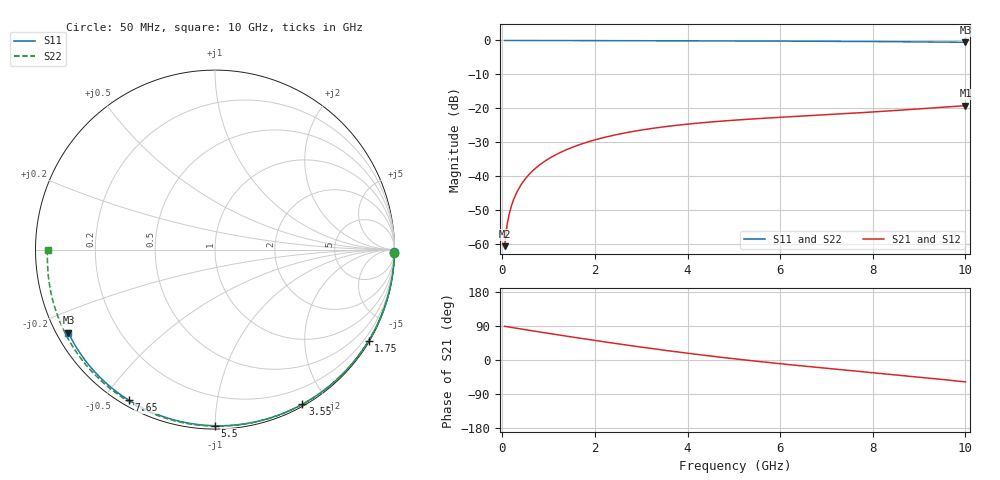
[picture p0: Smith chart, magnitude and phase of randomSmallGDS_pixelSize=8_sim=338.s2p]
! freq	dB(S11)	phase(S11)	dB(S12)	phase(S12)
!  dB(S21)	phase(S21)	dB(S22)	phase(S22)
!S-par simulation data
#  GHz  S  DB  R 50
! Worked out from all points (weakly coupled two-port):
!   200 points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, 50 MHz to 10 GHz, reference 50 ohm
!   highest |S21| = -19.25 dB at 10 GHz (marker M1); lowest = -60.7 dB at 50 MHz (marker M2)
!   lowest |S11| = -0.5 dB at 10 GHz (marker M3), VSWR 31.93, Z = 1.67 - j13.2 ohm
!   |S11| at or under -10 dB: nowhere
!   |S22| runs from -0.6 to 0.0 dB; largest |S21 - S12| = 0
!   S11 on the Smith chart (normalised r, x): 50 MHz: open; 1.75 GHz: 0.03, -3.64; 3.55 GHz: 0.02, -1.71; 5.5 GHz: 0.02, -1.00; 7.65 GHz: 0.02, -0.58; 10 GHz: 0.03, -0.26
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0.05  -0.00 -0.9  -60.75 89.0  -60.75 89.0  -0.00 -1.1
0.1  -0.00 -1.8  -54.73 87.9  -54.73 87.9  -0.00 -2.2
0.15  -0.00 -2.7  -51.21 86.9  -51.21 86.9  -0.00 -3.2
0.2  -0.00 -3.6  -48.72 85.9  -48.72 85.9  -0.00 -4.3
0.25  -0.00 -4.5  -46.79 84.9  -46.79 84.9  -0.00 -5.4
0.35  -0.00 -6.3  -43.88 82.9  -43.88 82.9  -0.01 -7.5
0.5  -0.01 -8.9  -40.82 79.9  -40.82 79.9  -0.01 -10.7
0.7  -0.01 -12.5  -37.95 76.0  -37.95 76.0  -0.02 -15.0
1  -0.02 -17.7  -34.94 70.2  -34.94 70.2  -0.03 -21.3
1.35  -0.03 -23.8  -32.47 63.6  -32.47 63.6  -0.04 -28.7
1.75  -0.04 -30.7  -30.39 56.2  -30.39 56.2  -0.05 -36.9
2.6  -0.07 -45.1  -27.43 40.9  -27.43 40.9  -0.08 -54.0
3.4  -0.09 -58.1  -25.66 27.4  -25.66 27.4  -0.10 -69.4
3.55  -0.09 -60.5  -25.40 25.0  -25.40 25.0  -0.11 -72.2
4.3  -0.12 -72.2  -24.32 13.4  -24.32 13.4  -0.13 -85.9
5.05  -0.14 -83.5  -23.50 2.6  -23.50 2.6  -0.17 -99.1
5.5  -0.16 -90.1  -23.10 -3.4  -23.10 -3.4  -0.19 -106.7
6.7  -0.23 -106.9  -22.15 -18.3  -22.15 -18.3  -0.26 -126.5
7.65  -0.29 -119.7  -21.41 -29.3  -21.41 -29.3  -0.34 -141.7
8.35  -0.36 -128.9  -20.81 -37.4  -20.81 -37.4  -0.41 -152.9
9.2  -0.44 -140.0  -20.03 -47.6  -20.03 -47.6  -0.50 -166.7
10  -0.54 -150.4  -19.25 -57.8  -19.25 -57.8  -0.61 180.0
